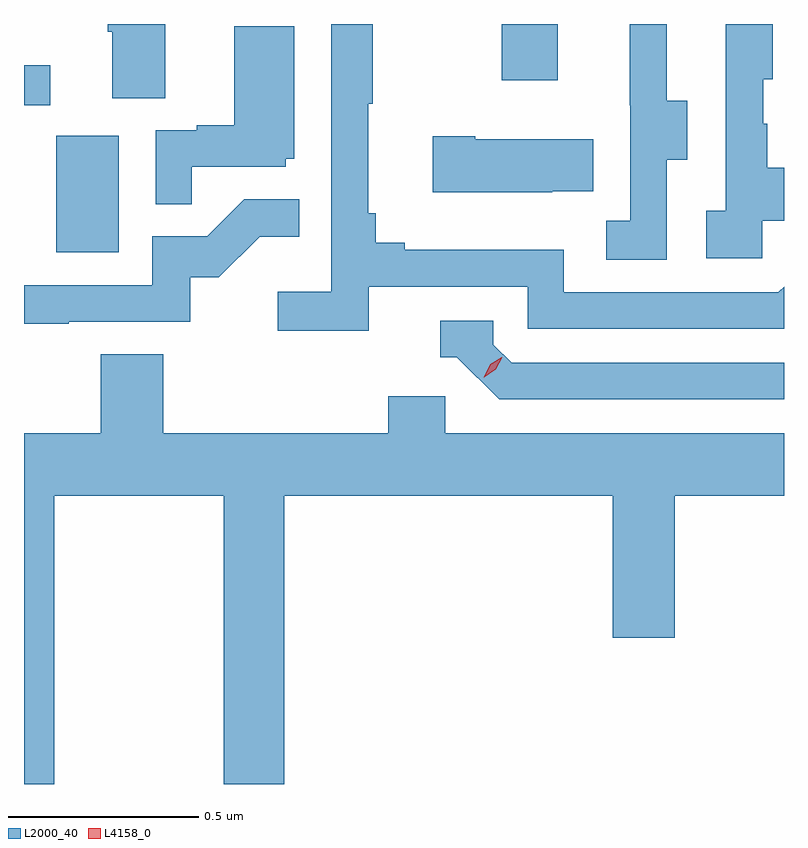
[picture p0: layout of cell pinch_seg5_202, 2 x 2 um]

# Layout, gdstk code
import gdstk
lib = gdstk.Library(unit=1e-6, precision=1e-09)
def R(c, l, rs):  # rectangles x0, y0, x1, y1
    for r in rs: c.add(gdstk.rectangle(r[:2], r[2:], *l))
def P(c, l, *ps):  # polygons
    for p in ps: c.add(gdstk.Polygon(p, *l))
L2000_40 = (2000, 40)
L4158_0 = (4158, 0)

pinch_seg5_202 = lib.new_cell('pinch_seg5_202')
R(pinch_seg5_202, L2000_40, [(990.716,909.348,990.88,909.655), (990.631,909.735,990.7,909.841), (991.888,909.801,992.035,909.949)])
P(pinch_seg5_202, L2000_40, [(991.003,909.949),(990.851,909.949),(990.851,909.928),(990.863,909.928),(990.863,909.754),(991.003,909.754)],
  [(992.574,909.431),(992.631,909.431),(992.631,909.571),(992.587,909.571),(992.587,909.686),(992.577,909.686),(992.577,909.804),(992.602,909.804),(992.602,909.949),(992.478,909.949),(992.478,909.458),(992.427,909.458),(992.427,909.333),(992.574,909.333)],
  [(992.322,909.592),(992.377,909.592),(992.377,909.747),(992.323,909.747),(992.323,909.949),(992.225,909.949),(992.225,909.735),(992.226,909.735),(992.226,909.431),(992.163,909.431),(992.163,909.328),(992.322,909.328)],
  [(991.538,909.258),(991.956,909.258),(991.956,909.147),(992.631,909.147),(992.631,909.258),(992.616,909.243),(992.052,909.243),(992.052,909.355),(991.633,909.355),(991.633,909.374),(991.556,909.374),(991.556,909.451),(991.537,909.451),(991.537,909.739),(991.549,909.739),(991.549,909.949),(991.44,909.949),(991.44,909.244),(991.299,909.244),(991.299,909.142),(991.538,909.142)],
  [(991.073,909.573),(991.32,909.573),(991.32,909.594),(991.342,909.594),(991.342,909.943),(991.184,909.943),(991.184,909.682),(991.085,909.682),(991.085,909.669),(990.978,909.669),(990.978,909.475),(991.073,909.475)],
  [(992.021,909.509),(992.129,909.509),(992.129,909.646),(991.819,909.646),(991.819,909.654),(991.707,909.654),(991.707,909.506),(992.021,909.506)],
  [(990.749,909.165),(991.068,909.165),(991.068,909.282),(991.144,909.282),(991.251,909.389),(991.355,909.389),(991.355,909.488),(991.211,909.488),(991.113,909.39),(990.969,909.39),(990.969,909.261),(990.631,909.261),(990.631,909.16),(990.749,909.16)],
  [(992.631,909.057),(991.914,909.057),(991.866,909.105),(991.866,909.168),(991.727,909.168),(991.727,909.072),(991.77,909.072),(991.881,908.961),(992.631,908.961)],
  [(990.711,908.708),(991.156,908.708),(991.156,907.949),(991.316,907.949),(991.316,908.708),(992.18,908.708),(992.18,908.334),(992.344,908.334),(992.344,908.708),(992.631,908.708),(992.631,908.872),(991.74,908.872),(991.74,908.97),(991.589,908.97),(991.589,908.872),(990.998,908.872),(990.998,909.08),(990.833,909.08),(990.833,908.872),(990.631,908.872),(990.631,907.949),(990.711,907.949)])
P(pinch_seg5_202, L4158_0, [(991.841,909.02),(991.841,909.02),(991.858,909.053),(991.888,909.072),(991.889,909.072),(991.889,909.072),(991.872,909.04),(991.842,909.02)])

lib.write_gds('pinch_seg5_202.gds')
